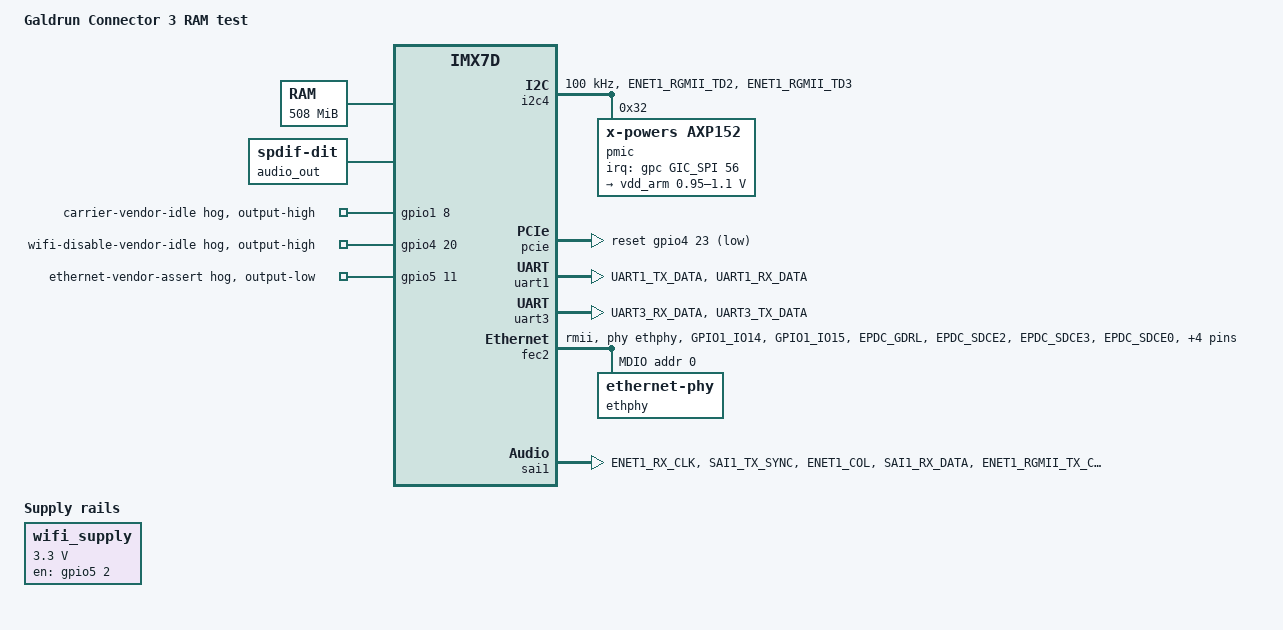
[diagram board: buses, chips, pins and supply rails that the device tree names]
// SPDX-License-Identifier: GPL-2.0-only
/dts-v1/;
#include "imx7d.dtsi"

/* Match the working vendor GPIO levels and sequence radio power/reset. The debugfs
 * pad-level readback reports low even for some driven-high outputs.
 * Wiring: Teufel's published S810 DTS and this unit's live, fixed-up DTB. */
/ {
    model = "Galdrun Connector 3 RAM test";
    compatible = "fsl,imx7d-teufel-streamer", "fsl,imx7d";
    aliases { ethernet0 = &fec2; };
    chosen { stdout-path = "serial0:115200n8"; };
    memory@80000000 {
        device_type = "memory";
        reg = <0x80000000 0x1fc00000>;
    };

    /* Keep the failed boot's console in RAM across a warm reboot. This lies
     * inside the vendor's CMA pool, away from its early kernel allocations.
     * Recovery is best effort: vendor firmware may reuse it after reboot. */
    reserved-memory {
        #address-cells = <1>;
        #size-cells = <1>;
        ranges;
        ramoops@9d000000 {
            compatible = "ramoops";
            reg = <0x9d000000 0x100000>;
            record-size = <0x20000>;
            console-size = <0x80000>;
            mem-type = <1>;
        };
    };

    wifi_supply: regulator-wifi {
        compatible = "regulator-fixed";
        regulator-name = "wifi-power-enable";
        regulator-min-microvolt = <3300000>;
        regulator-max-microvolt = <3300000>;
        /* The vendor driver first drives GPIO5_2 low, then enables power
         * before releasing PERST#. Holding it high across kexec leaves the
         * radio's firmware/reset state dependent on the preceding kernel. */
        gpio = <&gpio5 2 GPIO_ACTIVE_HIGH>;
        enable-active-high;
        startup-delay-us = <100000>;
        off-on-delay-us = <100000>;
    };

    audio_out: audio-output {
        compatible = "linux,spdif-dit";
        #sound-dai-cells = <0>;
    };

    sound {
        compatible = "galdrun,connector3-audio";
        audio-cpu = <&sai1>;
        audio-codec = <&audio_out>;
        /* Mainline leaves AUDIO_MCLK_ROOT_CLK unregistered; use its actual
         * divider. Retune the main PLL, not its rate-gated post-divider. */
        clocks = <&clks IMX7D_PLL_AUDIO_MAIN>,
                 <&clks IMX7D_AUDIO_MCLK_ROOT_DIV>,
                 <&clks IMX7D_SAI1_ROOT_CLK>;
        clock-names = "pll", "mclk", "sai";
        assigned-clocks = <&clks IMX7D_AUDIO_MCLK_ROOT_SRC>,
                          <&clks IMX7D_AUDIO_MCLK_ROOT_DIV>;
        assigned-clock-parents = <&clks IMX7D_PLL_AUDIO_POST_DIV>;
        assigned-clock-rates = <0>, <24576000>;
    };
};

&cpu1 { status = "disabled"; };

/* Reserved for the CPU-off suspend trampoline and its translation table.
 * The mmio-sram driver excludes reserved children from its allocation pool. */
&ocram {
    suspend-reserved@0 { reg = <0 0x4000>; };
};

&cpu0 { cpu-supply = <&vdd_arm>; };

/* The stock firmware uses 792 and 996 MHz. Do not expose its optional
 * 1.2 GHz overdrive point, even if this chip's speed fuse allows it. */
&cpu0_opp_table { /delete-node/ opp-1200000000; };

&i2c4 {
    pinctrl-names = "default";
    pinctrl-0 = <&pinctrl_i2c4>;
    clock-frequency = <100000>;
    status = "okay";
    pmic: pmic@32 {
        compatible = "x-powers,axp152";
        reg = <0x32>;
        interrupt-parent = <&gpc>;
        interrupts = <GIC_SPI 56 IRQ_TYPE_LEVEL_HIGH>;
        regulators {
            vdd_arm: dcdc4 {
                regulator-name = "vdd_arm";
                regulator-min-microvolt = <950000>;
                regulator-max-microvolt = <1100000>;
                regulator-boot-on;
                regulator-always-on;
            };
        };
    };
};

/* The vendor DT disables this block. Probing it from the RAM
 * kernel faults at 0x30900004 before userspace can start. */
&crypto { status = "disabled"; };

&gpio1 {
    carrier-idle {
        gpio-hog;
        gpios = <8 GPIO_ACTIVE_HIGH>;
        output-high;
        line-name = "carrier-vendor-idle";
    };
};

&gpio4 {
    wifi-disable-idle {
        gpio-hog;
        gpios = <20 GPIO_ACTIVE_HIGH>;
        output-high;
        line-name = "wifi-disable-vendor-idle";
    };
};

&gpio5 {
    ethernet-assert {
        gpio-hog;
        gpios = <11 GPIO_ACTIVE_HIGH>;
        output-low;
        line-name = "ethernet-vendor-assert";
    };
};

&pcie {
    /* Let the DesignWare host map inbound Wi-Fi DMA into system RAM. */
    dma-ranges = <0x02000000 0 0x80000000 0x80000000 0 0x20000000>;
    vpcie-supply = <&wifi_supply>;
    /* GPIO4 DR bit 23 is high with vendor Wi-Fi working: reset is active low. */
    reset-gpios = <&gpio4 23 GPIO_ACTIVE_LOW>;
    status = "okay";
};

&uart1 {
    pinctrl-names = "default";
    pinctrl-0 = <&pinctrl_uart1>;
    assigned-clocks = <&clks IMX7D_UART1_ROOT_SRC>;
    assigned-clock-parents = <&clks IMX7D_OSC_24M_CLK>;
    status = "okay";
};

/* The front-panel MCU uses serial2 in the vendor DT. */
&uart3 {
    pinctrl-names = "default";
    pinctrl-0 = <&pinctrl_uart3>;
    assigned-clocks = <&clks IMX7D_UART3_ROOT_SRC>;
    assigned-clock-parents = <&clks IMX7D_OSC_24M_CLK>;
    status = "okay";
};

&fec2 {
    fsl,magic-packet;
    pinctrl-names = "default";
    pinctrl-0 = <&pinctrl_enet2>;
    clocks = <&clks IMX7D_ENET2_IPG_ROOT_CLK>,
             <&clks IMX7D_ENET_AXI_ROOT_CLK>,
             <&clks IMX7D_ENET2_TIME_ROOT_CLK>,
             <&clks IMX7D_PLL_ENET_MAIN_125M_CLK>,
             <&clks IMX7D_ENET2_REF_ROOT_DIV>;
    assigned-clocks = <&clks IMX7D_ENET2_TIME_ROOT_SRC>,
                      <&clks IMX7D_ENET2_TIME_ROOT_CLK>,
                      <&clks IMX7D_ENET2_REF_ROOT_SRC>,
                      <&clks IMX7D_ENET2_REF_ROOT_DIV>;
    assigned-clock-parents = <&clks IMX7D_PLL_ENET_MAIN_100M_CLK>, <0>,
                            <&clks IMX7D_PLL_ENET_MAIN_50M_CLK>, <0>;
    assigned-clock-rates = <0>, <100000000>, <0>, <50000000>;
    phy-mode = "rmii";
    phy-handle = <&ethphy>;
    status = "okay";
    mdio {
        #address-cells = <1>;
        #size-cells = <0>;
        /* GPIO4 DR bit 22 is high while vendor Ethernet is up. */
        reset-gpios = <&gpio4 22 GPIO_ACTIVE_LOW>;
        reset-delay-us = <10000>;
        reset-post-delay-us = <30000>;
        ethphy: ethernet-phy@0 { reg = <0>; };
    };
};

&sai1 {
    #sound-dai-cells = <0>;
    pinctrl-names = "default";
    pinctrl-0 = <&pinctrl_sai1 &pinctrl_sai1_mclk>;
    assigned-clocks = <&clks IMX7D_PLL_AUDIO_POST_DIV>,
                      <&clks IMX7D_SAI1_ROOT_SRC>,
                      <&clks IMX7D_SAI1_ROOT_CLK>;
    assigned-clock-parents = <0>, <&clks IMX7D_PLL_AUDIO_POST_DIV>;
    assigned-clock-rates = <884736000>, <0>, <24576000>;
    fsl,sai-mclk-direction-output;
    status = "okay";
};

&iomuxc {
    pinctrl-names = "default";
    pinctrl-0 = <&pinctrl_preserved_gpio &pinctrl_32khz>;
    pinctrl_i2c4: i2c4grp {
        fsl,pins = <
            MX7D_PAD_ENET1_RGMII_TD2__I2C4_SCL 0x4000007f
            MX7D_PAD_ENET1_RGMII_TD3__I2C4_SDA 0x4000007f
        >;
    };
    pinctrl_preserved_gpio: preserved-gpiogrp {
        fsl,pins = <
            MX7D_PAD_GPIO1_IO08__GPIO1_IO8 0x14
            MX7D_PAD_ECSPI2_SCLK__GPIO4_IO20 0x14
            MX7D_PAD_ECSPI2_MISO__GPIO4_IO22 0x80000000
            MX7D_PAD_ECSPI2_SS0__GPIO4_IO23 0x14
            MX7D_PAD_SD1_RESET_B__GPIO5_IO2 0x14
            MX7D_PAD_SD2_RESET_B__GPIO5_IO11 0x80000000
        >;
    };
    pinctrl_32khz: clko2grp {
        fsl,pins = <MX7D_PAD_SD1_WP__CCM_CLKO2 0x14>;
    };
    pinctrl_uart1: uart1grp {
        fsl,pins = <
            MX7D_PAD_UART1_TX_DATA__UART1_DCE_TX 0x79
            MX7D_PAD_UART1_RX_DATA__UART1_DCE_RX 0x79
        >;
    };
    pinctrl_uart3: uart3grp {
        fsl,pins = <
            MX7D_PAD_UART3_RX_DATA__UART3_DCE_RX 0x60
            MX7D_PAD_UART3_TX_DATA__UART3_DCE_TX 0x60
        >;
    };
    pinctrl_enet2: enet2grp {
        fsl,pins = <
            MX7D_PAD_GPIO1_IO14__ENET2_MDIO 0x03
            MX7D_PAD_GPIO1_IO15__ENET2_MDC 0x03
            MX7D_PAD_EPDC_GDRL__ENET2_RGMII_TX_CTL 0x01
            MX7D_PAD_EPDC_SDCE2__ENET2_RGMII_TD0 0x01
            MX7D_PAD_EPDC_SDCE3__ENET2_RGMII_TD1 0x01
            MX7D_PAD_EPDC_SDCE0__ENET2_RGMII_RX_CTL 0x01
            MX7D_PAD_EPDC_SDCLK__ENET2_RGMII_RD0 0x01
            MX7D_PAD_EPDC_SDLE__ENET2_RGMII_RD1 0x01
            MX7D_PAD_EPDC_SDCE1__ENET2_RX_ER 0x01
            MX7D_PAD_EPDC_BDR0__CCM_ENET_REF_CLK2 0x40000001
        >;
    };
    pinctrl_sai1: sai1grp {
        fsl,pins = <
            MX7D_PAD_ENET1_RX_CLK__SAI1_TX_BCLK 0x1f
            MX7D_PAD_SAI1_TX_SYNC__SAI1_TX_SYNC 0x1f
            MX7D_PAD_ENET1_COL__SAI1_TX_DATA0 0x1f
            MX7D_PAD_SAI1_RX_DATA__SAI1_RX_DATA0 0x1f
            MX7D_PAD_ENET1_RGMII_TX_CTL__SAI1_RX_SYNC 0x1f
            MX7D_PAD_ENET1_RGMII_TXC__SAI1_RX_BCLK 0x1f
            MX7D_PAD_SAI1_RX_SYNC__SAI1_RX_SYNC 0x1f
        >;
    };
};

&iomuxc_lpsr {
    pinctrl_sai1_mclk: sai1-mclkgrp {
        fsl,pins = <MX7D_PAD_LPSR_GPIO1_IO01__SAI1_MCLK 0x14>;
    };
};
